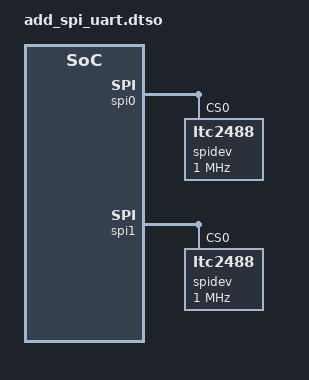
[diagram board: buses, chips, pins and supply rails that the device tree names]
/dts-v1/;
/plugin/;
/ {
    compatible = "microchip,mpfs";

    fragment@0 {
        target = <&spi0>;
        __overlay__ {
            #address-cells = <1>;
            #size-cells = <0>;
            status = "okay";

            spidev@0 {
                compatible = "ltc2488";
                reg = <0>;
                spi-max-frequency = <1000000>; /* 1 MHz */
            };
        };
    };

    fragment@1 {
        target = <&spi1>;
        __overlay__ {
            #address-cells = <1>;
            #size-cells = <0>;
            status = "okay";

            spidev@0 {
                compatible = "ltc2488";
                reg = <0>;
                spi-max-frequency = <1000000>; /* 1 MHz */
            };
        };
    };

    fragment@2 {
        target = <&mmuart2>;
        __overlay__ {
            status = "okay";
            current-speed = <115200>; /* Set baud rate */
            parity = "none";
            flow-control = "none";
        };
    };

};
